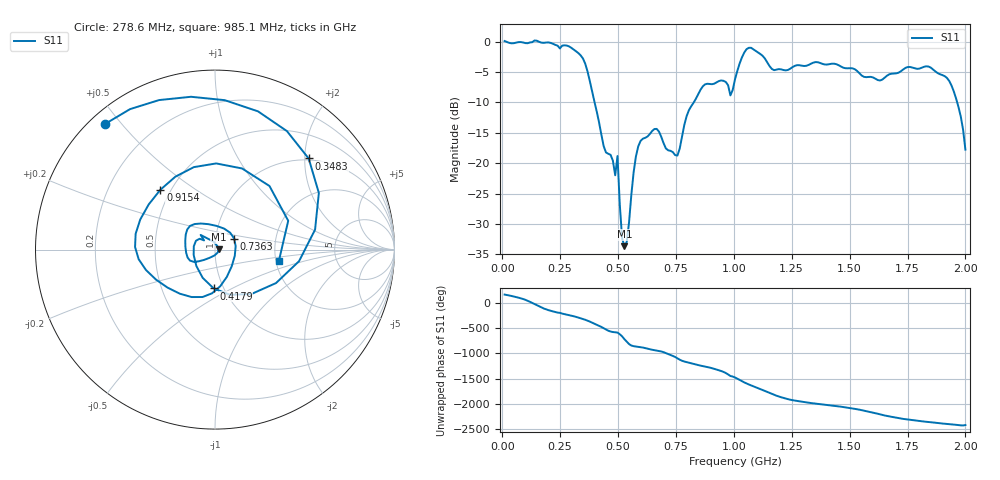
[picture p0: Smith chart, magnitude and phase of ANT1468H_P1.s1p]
!Created with skrf (http://scikit-rf.org).
# Hz S RI R 50.0
!freq ReS11 ImS11
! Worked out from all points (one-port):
!   201 points, 10 MHz to 2 GHz, reference 50 ohm
!   lowest |S11| = -33.7 dB at 527.4 MHz (marker M1), VSWR 1.04, Z = 52.1 + j0.1 ohm
!   |S11| at or under -10 dB: 398.7 MHz to 826.7 MHz (428 MHz wide, 69.8 % of centre); 1.965 GHz to end of sweep
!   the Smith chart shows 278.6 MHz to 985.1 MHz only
!   S11 on the Smith chart (normalised r, x): 278.6 MHz: 0.04, +0.45; 348.3 MHz: 0.97, +2.09; 417.9 MHz: 0.90, -0.41; 736.4 MHz: 1.23, +0.15; 915.5 MHz: 0.44, +0.37; 985.1 MHz: 2.08, -0.30
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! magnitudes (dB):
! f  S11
! 10 MHz  0.1
! 258.8 MHz  -0.6
! 278.6 MHz  -0.6
! 348.3 MHz  -2.8
! 417.9 MHz  -13.3
! 487.6 MHz  -22.0
! 497.6 MHz  -18.8
! 507.5 MHz  -26.9
! 517.5 MHz  -32.4
! 527.4 MHz  -33.7
! 537.4 MHz  -33.0
! 577.1 MHz  -18.9
! 597 MHz  -16.3
! 666.7 MHz  -14.3
! 736.4 MHz  -18.2
! 756.2 MHz  -18.8
! 806 MHz  -11.3
! 915.5 MHz  -6.9
! 985.1 MHz  -8.8
! 1.005 GHz  -6.2
! 1.065 GHz  -1.0
! 1.254 GHz  -4.2
! 1.502 GHz  -4.4
! 1.632 GHz  -6.4
! 1.751 GHz  -4.2
! 1.93 GHz  -6.5
! 1.98 GHz  -12.3
! 2 GHz  -17.8
